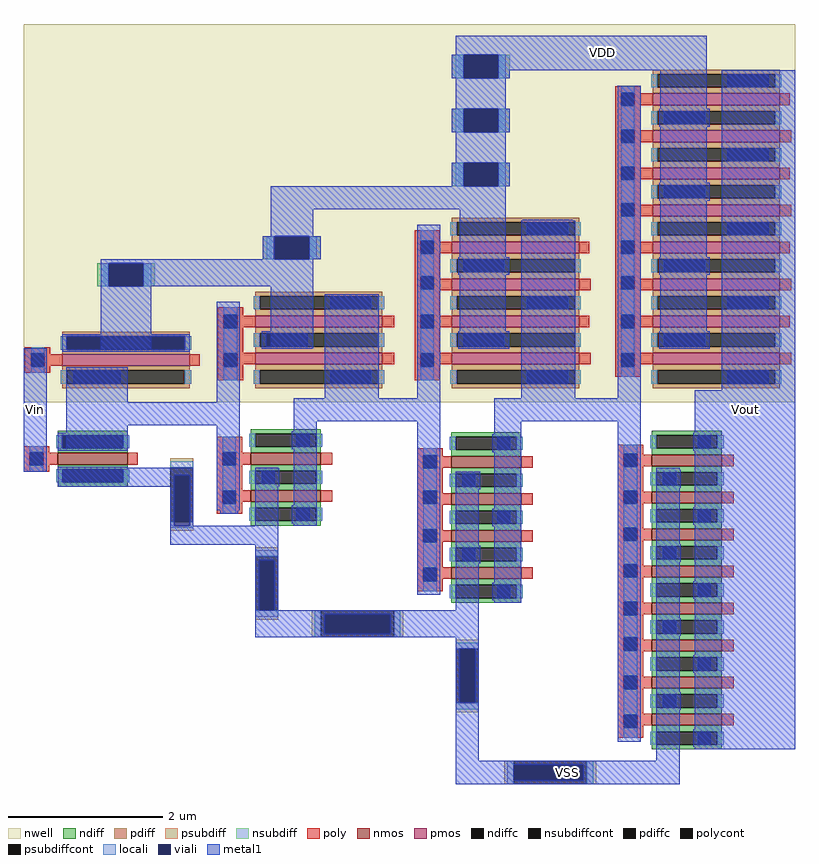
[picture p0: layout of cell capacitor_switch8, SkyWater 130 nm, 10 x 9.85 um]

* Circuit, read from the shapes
.subckt capacitor_switch8 VDD Vin Vout VSS
XM1 n1 Vin VSS VSS sky130_fd_pr__nfet_01v8 w=0.91 l=0.15
XM2 VSS n1 n2 VSS sky130_fd_pr__nfet_01v8 w=0.91 l=0.15 m=2
XM3 VSS n2 n3 VSS sky130_fd_pr__nfet_01v8 w=0.91 l=0.15 m=4
XM4 VSS n3 Vout VSS sky130_fd_pr__nfet_01v8 w=0.91 l=0.15 m=8
XM5 VDD Vin n1 VDD sky130_fd_pr__pfet_01v8 w=1.65 l=0.15
XM6 VDD n1 n2 VDD sky130_fd_pr__pfet_01v8 w=1.65 l=0.15 m=2
XM7 VDD n2 n3 VDD sky130_fd_pr__pfet_01v8 w=1.65 l=0.15 m=4
XM8 VDD n3 Vout VDD sky130_fd_pr__pfet_01v8 w=1.65 l=0.15 m=8
.ends

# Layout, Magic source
magic
tech sky130A
magscale 1 2
<< nwell >>
rect -20 1080 1980 2060
<< psubdiff >>
rect 360 910 420 934
rect 360 746 420 770
rect 580 680 640 704
rect 580 516 640 540
rect 726 470 750 540
rect 940 470 964 540
rect 1100 440 1160 464
rect 1100 276 1160 300
rect 1226 90 1250 150
rect 1440 90 1464 150
<< nsubdiff >>
rect 1090 1920 1120 1980
rect 1210 1920 1240 1980
rect 1090 1780 1120 1840
rect 1210 1780 1240 1840
rect 1090 1640 1120 1700
rect 1210 1640 1240 1700
rect 600 1450 630 1510
rect 720 1450 750 1510
rect 170 1380 200 1440
rect 290 1380 320 1440
<< psubdiffcont >>
rect 360 770 420 910
rect 580 540 640 680
rect 750 470 940 540
rect 1100 300 1160 440
rect 1250 90 1440 150
<< nsubdiffcont >>
rect 1120 1920 1210 1980
rect 1120 1780 1210 1840
rect 1120 1640 1210 1700
rect 630 1450 720 1510
rect 200 1380 290 1440
<< locali >>
rect 1100 1920 1120 1980
rect 1210 1920 1230 1980
rect 1100 1780 1120 1840
rect 1210 1780 1230 1840
rect 1100 1640 1120 1700
rect 1210 1640 1230 1700
rect 610 1450 630 1510
rect 720 1450 740 1510
rect 180 1380 200 1440
rect 290 1380 310 1440
rect 360 910 420 926
rect 360 760 370 770
rect 410 760 420 770
rect 360 754 420 760
rect 580 680 640 696
rect 580 524 640 540
rect 734 470 750 540
rect 940 470 956 540
rect 1100 440 1160 456
rect 1100 284 1160 300
rect 1234 90 1250 150
rect 1440 90 1456 150
<< viali >>
rect 1120 1920 1210 1980
rect 1120 1780 1210 1840
rect 1120 1640 1210 1700
rect 630 1450 720 1510
rect 200 1380 290 1440
rect 370 770 410 890
rect 370 760 410 770
rect 590 540 630 670
rect 760 480 930 530
rect 1110 300 1150 440
rect 1250 100 1430 140
<< metal1 >>
rect 1100 1980 1750 2030
rect 1090 1920 1120 1980
rect 1210 1940 1750 1980
rect 1210 1920 1240 1940
rect 1100 1840 1230 1920
rect 1090 1780 1120 1840
rect 1210 1780 1240 1840
rect 1100 1700 1230 1780
rect 1090 1640 1120 1700
rect 1210 1640 1240 1700
rect 620 1580 1230 1640
rect 620 1510 730 1580
rect 600 1450 630 1510
rect 720 1450 750 1510
rect 180 1440 730 1450
rect 180 1380 200 1440
rect 290 1380 730 1440
rect -20 900 40 1220
rect 180 1210 310 1380
rect 90 1080 250 1170
rect 480 1080 540 1340
rect 620 1220 730 1380
rect 760 1090 900 1360
rect 1000 1090 1060 1540
rect 1110 1220 1230 1580
rect 1270 1090 1410 1550
rect 1520 1090 1580 1900
rect 1630 1220 1750 1940
rect 1790 1110 1980 1940
rect 90 1020 540 1080
rect 90 960 250 1020
rect 70 890 420 910
rect 70 860 370 890
rect 360 760 370 860
rect 410 760 420 890
rect 480 800 540 1020
rect 680 1030 1060 1090
rect 580 760 640 910
rect 680 760 740 1030
rect 360 710 640 760
rect 580 670 640 710
rect 580 540 590 670
rect 630 540 640 670
rect 1000 580 1060 1030
rect 1200 1030 1580 1090
rect 1100 540 1160 900
rect 1200 560 1270 1030
rect 580 530 1160 540
rect 580 480 760 530
rect 930 480 1160 530
rect 580 470 1160 480
rect 1100 440 1160 470
rect 1100 300 1110 440
rect 1150 300 1160 440
rect 1100 150 1160 300
rect 1520 200 1580 1030
rect 1620 150 1680 910
rect 1720 180 1980 1110
rect 1100 140 1680 150
rect 1100 100 1250 140
rect 1430 100 1680 140
rect 1100 90 1680 100
use sky130_fd_pr__nfet_01v8_9CGS2F  XM1
transform 0 1 128 -1 0 933
box -73 -148 73 148
use sky130_fd_pr__pfet_01v8_46WN3R  XM2
transform 0 1 209 1 0 1189
box -109 -229 109 263
use sky130_fd_pr__nfet_01v8_5XXJZ8  XM3
transform 0 1 659 -1 0 885
box -125 -179 125 121
use sky130_fd_pr__pfet_01v8_CBMBZG  XM4
transform 0 1 745 -1 0 1241
box -169 -265 161 205
use sky130_fd_pr__nfet_01v8_ZDVJZL  XM5
transform 0 1 1179 -1 0 781
box -221 -179 221 121
use sky130_fd_pr__pfet_01v8_CBDHKH  XM6
transform 0 1 1255 -1 0 1337
box -263 -265 257 205
use sky130_fd_pr__nfet_01v8_MRXJZU  XM7
transform 0 1 1699 -1 0 593
box -413 -179 413 121
use sky130_fd_pr__pfet_01v8_CBVRKH  XM8
transform 0 1 1775 -1 0 1529
box -451 -265 449 205
<< labels >>
rlabel metal1 1210 1940 1750 2030 1 VDD
port 1 n
rlabel metal1 -20 900 40 1220 1 Vin
port 2 n
rlabel metal1 1720 1010 1980 1110 1 Vout
port 3 n
rlabel metal1 1100 90 1680 150 1 VSS
port 4 n
<< end >>

# cell sky130_fd_pr__nfet_01v8_9CGS2F: kit device sky130_fd_pr__nfet_01v8, w 0.91 l 0.15 m 1 nf 1 diffcov 100 polycov 100 guard 0 glc 1 grc 1 gtc 1 gbc 1 tbcov 100 rlcov 100 topc 0 botc 1 poverlap 0 doverlap 1 lmin 0.15 wmin 0.42 compatible {sky130_fd_pr__nfet_01v8 sky130_fd_pr__nfet_01v8_lvt sky130_fd_bs_flash__special_sonosfet_star sky130_fd_pr__nfet_g5v0d10v5 sky130_fd_pr__nfet_05v0_nvt sky130_fd_pr__nfet_03v3_nvt} full_metal 0 viasrc 100 viadrn 100 viagate 100 viagb 0 viagr 0 viagl 0 viagt 0

# cell sky130_fd_pr__pfet_01v8_46WN3R: kit device sky130_fd_pr__pfet_01v8, w 1.65 l 0.15 m 1 nf 1 diffcov 100 polycov 100 guard 0 glc 1 grc 1 gtc 1 gbc 1 tbcov 100 rlcov 100 topc 0 botc 1 poverlap 0 doverlap 1 lmin 0.15 wmin 0.42 compatible {sky130_fd_pr__pfet_01v8 sky130_fd_pr__pfet_01v8_lvt sky130_fd_pr__pfet_01v8_hvt sky130_fd_pr__pfet_g5v0d10v5} full_metal 0 viasrc 100 viadrn +40 viagate 100 viagb 0 viagr 0 viagl 0 viagt 0

# cell sky130_fd_pr__nfet_01v8_5XXJZ8: kit device sky130_fd_pr__nfet_01v8, w 0.91 l 0.15 m 1 nf 2 diffcov 100 polycov 100 guard 0 glc 1 grc 1 gtc 1 gbc 1 tbcov 100 rlcov 100 topc 1 botc 1 poverlap 0 doverlap 1 lmin 0.15 wmin 0.42 compatible {sky130_fd_pr__nfet_01v8 sky130_fd_pr__nfet_01v8_lvt sky130_fd_bs_flash__special_sonosfet_star sky130_fd_pr__nfet_g5v0d10v5 sky130_fd_pr__nfet_05v0_nvt sky130_fd_pr__nfet_03v3_nvt} full_metal 0 viasrc +20 viadrn -20 viagate 100 viagb 0 viagr 0 viagl 0 viagt 0

# cell sky130_fd_pr__pfet_01v8_CBMBZG: kit device sky130_fd_pr__pfet_01v8, w 1.65 l 0.15 m 1 nf 2 diffcov 100 polycov 100 guard 0 glc 1 grc 1 gtc 1 gbc 1 tbcov 100 rlcov 100 topc 1 botc 1 poverlap 0 doverlap 1 lmin 0.15 wmin 0.42 compatible {sky130_fd_pr__pfet_01v8 sky130_fd_pr__pfet_01v8_lvt sky130_fd_pr__pfet_01v8_hvt sky130_fd_pr__pfet_g5v0d10v5} full_metal 0 viasrc +35 viadrn -35 viagate 100 viagb 0 viagr 0 viagl 0 viagt 0

# cell sky130_fd_pr__nfet_01v8_ZDVJZL: kit device sky130_fd_pr__nfet_01v8, w 0.91 l 0.15 m 1 nf 4 diffcov 100 polycov 100 guard 0 glc 1 grc 1 gtc 1 gbc 1 tbcov 100 rlcov 100 topc 1 botc 1 poverlap 0 doverlap 1 lmin 0.15 wmin 0.42 compatible {sky130_fd_pr__nfet_01v8 sky130_fd_pr__nfet_01v8_lvt sky130_fd_bs_flash__special_sonosfet_star sky130_fd_pr__nfet_g5v0d10v5 sky130_fd_pr__nfet_05v0_nvt sky130_fd_pr__nfet_03v3_nvt} full_metal 0 viasrc +20 viadrn -20 viagate 100 viagb 0 viagr 0 viagl 0 viagt 0

# cell sky130_fd_pr__pfet_01v8_CBDHKH: kit device sky130_fd_pr__pfet_01v8, w 1.65 l 0.15 m 1 nf 4 diffcov 100 polycov 100 guard 0 glc 1 grc 1 gtc 1 gbc 1 tbcov 100 rlcov 100 topc 1 botc 1 poverlap 0 doverlap 1 lmin 0.15 wmin 0.42 compatible {sky130_fd_pr__pfet_01v8 sky130_fd_pr__pfet_01v8_lvt sky130_fd_pr__pfet_01v8_hvt sky130_fd_pr__pfet_g5v0d10v5} full_metal 0 viasrc +35 viadrn -35 viagate 100 viagb 0 viagr 0 viagl 0 viagt 0

# cell sky130_fd_pr__nfet_01v8_MRXJZU: kit device sky130_fd_pr__nfet_01v8, w 0.91 l 0.15 m 1 nf 8 diffcov 100 polycov 100 guard 0 glc 1 grc 1 gtc 1 gbc 1 tbcov 100 rlcov 100 topc 1 botc 1 poverlap 0 doverlap 1 lmin 0.15 wmin 0.42 compatible {sky130_fd_pr__nfet_01v8 sky130_fd_pr__nfet_01v8_lvt sky130_fd_bs_flash__special_sonosfet_star sky130_fd_pr__nfet_g5v0d10v5 sky130_fd_pr__nfet_05v0_nvt sky130_fd_pr__nfet_03v3_nvt} full_metal 0 viasrc +20 viadrn -20 viagate 100 viagb 0 viagr 0 viagl 0 viagt 0

# cell sky130_fd_pr__pfet_01v8_CBVRKH: kit device sky130_fd_pr__pfet_01v8, w 1.65 l 0.15 m 1 nf 8 diffcov 100 polycov 100 guard 0 glc 1 grc 1 gtc 1 gbc 1 tbcov 100 rlcov 100 topc 1 botc 1 poverlap 0 doverlap 1 lmin 0.15 wmin 0.42 compatible {sky130_fd_pr__pfet_01v8 sky130_fd_pr__pfet_01v8_lvt sky130_fd_pr__pfet_01v8_hvt sky130_fd_pr__pfet_g5v0d10v5} full_metal 0 viasrc +35 viadrn -35 viagate 100 viagb 0 viagr 0 viagl 0 viagt 0
